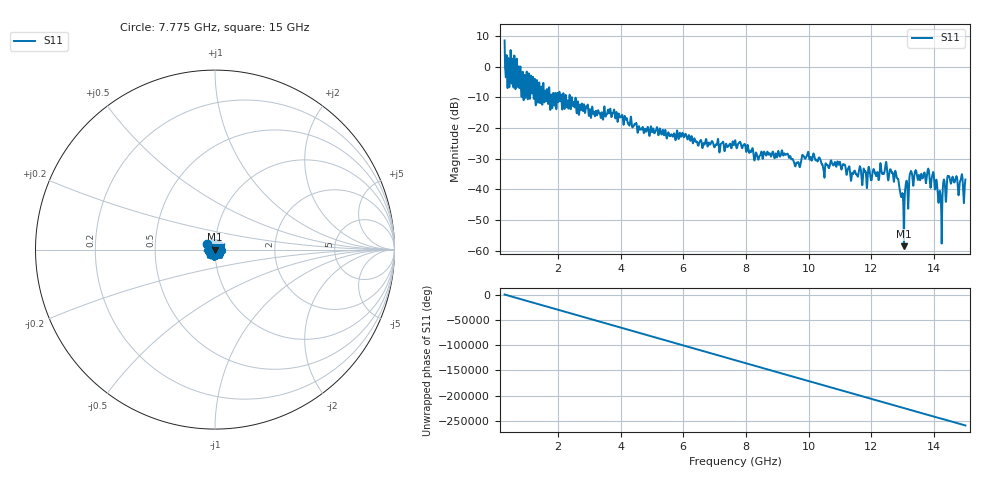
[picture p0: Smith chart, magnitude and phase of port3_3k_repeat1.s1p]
# GHZ S RI R 50.0
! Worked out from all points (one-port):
!   12801 points, 300 MHz to 15 GHz, reference 50 ohm
!   lowest |S11| = -58.5 dB at 13.04 GHz (marker M1), VSWR 1.00, Z = 50.1 + j0.00895 ohm
!   |S11| at or under -10 dB: 2.255 GHz to 2.365 GHz (110.8 MHz wide, 4.8 % of centre); 2.382 GHz to 2.443 GHz (60.92 MHz wide, 2.53 % of centre); 2.448 GHz to end of sweep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
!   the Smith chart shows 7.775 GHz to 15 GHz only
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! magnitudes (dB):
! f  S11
! 300 MHz  8.6
! 395.3 MHz  -6.9
! 744.4 MHz  0.0
! 902.9 MHz  -10.8
! 1.137 GHz  -2.9
! 1.816 GHz  -13.5
! 2.138 GHz  -13.9
! 3.975 GHz  -16.5
! 4.599 GHz  -19.9
! 5.812 GHz  -21.1
! 7.65 GHz  -24.1
! 8.328 GHz  -28.0
! 9.488 GHz  -30.0
! 10 GHz  -28.6
! 10.46 GHz  -33.0
! 10.95 GHz  -31.9
! 11.32 GHz  -35.0
! 12.44 GHz  -32.5
! 12.81 GHz  -36.1
! 12.98 GHz  -41.6
! 13.04 GHz  -58.5
! 13.16 GHz  -43.6
! 13.27 GHz  -34.1
! 13.78 GHz  -35.1
! 14.02 GHz  -39.7
! 14.2 GHz  -40.9
! 14.48 GHz  -35.8
! 15 GHz  -36.8
